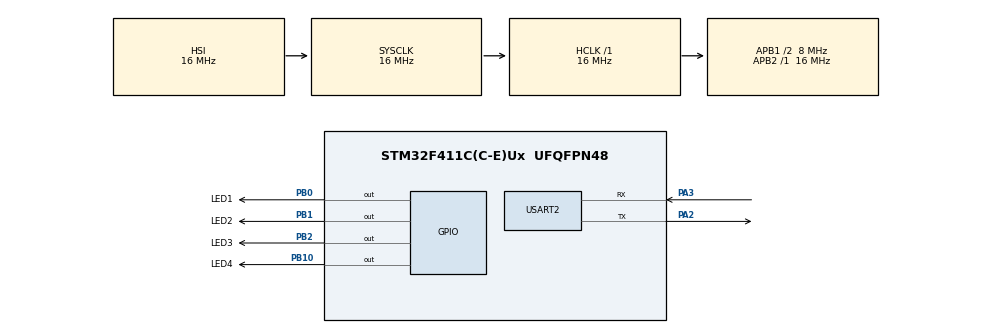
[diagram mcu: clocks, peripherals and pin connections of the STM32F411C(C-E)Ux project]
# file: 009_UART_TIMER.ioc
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Mcu.Family=STM32F4
Mcu.Name=STM32F411C(C-E)Ux
Mcu.Package=UFQFPN48
NVIC.PriorityGroup=NVIC_PRIORITYGROUP_4
NVIC.TIM2_IRQn=true\:15\:0\:false\:false\:true\:false\:true\:true
NVIC.TimeBase=TIM2_IRQn
NVIC.TimeBaseIP=TIM2
NVIC.USART2_IRQn=true\:6\:0\:true\:false\:true\:true\:true\:true
PA2.Mode=Asynchronous
PA2.Signal=USART2_TX
PA3.Mode=Asynchronous
PA3.Signal=USART2_RX
PB0.GPIO_Label=LED1
PB0.Signal=GPIO_Output
PB1.GPIO_Label=LED2
PB1.Signal=GPIO_Output
PB10.GPIO_Label=LED4
PB10.Signal=GPIO_Output
PB2.GPIO_Label=LED3
PB2.Signal=GPIO_Output
ProjectManager.HeapSize=0x200
ProjectManager.StackSize=0x400
ProjectManager.TargetToolchain=STM32CubeIDE
RCC.48MHZClocksFreq_Value=48000000
RCC.AHBFreq_Value=16000000
RCC.APB1CLKDivider=RCC_HCLK_DIV2
RCC.APB1Freq_Value=8000000
RCC.APB1TimFreq_Value=16000000
RCC.APB2Freq_Value=16000000
RCC.APB2TimFreq_Value=16000000
RCC.CortexFreq_Value=16000000
RCC.HCLKFreq_Value=16000000
RCC.HSE_VALUE=25000000
RCC.HSI_VALUE=16000000
RCC.LSE_VALUE=32768
RCC.PLLM=8
RCC.PLLN=96
RCC.SYSCLKFreq_VALUE=16000000
RCC.VCOOutputFreq_Value=192000000
RTC.HourFormat=RTC_HOURFORMAT_24
USART2.VirtualMode=VM_ASYNC
VP_RTC_VS_RTC_Activate.Mode=RTC_Enabled
VP_RTC_VS_RTC_Calendar.Mode=RTC_Calendar
VP_SYS_VS_tim2.Mode=TIM2
board=custom

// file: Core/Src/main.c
/* USER CODE BEGIN Header */
/**
 ******************************************************************************
 * @file           : main.c
 * @brief          : Main program body
 ******************************************************************************
 * @attention
 *
 * Copyright (c) 2026 STMicroelectronics.
 * All rights reserved.
 *
 * This software is licensed under terms that can be found in the LICENSE file
 * in the root directory of this software component.
 * If no LICENSE file comes with this software, it is provided AS-IS.
 *
 ******************************************************************************
 */
/* USER CODE END Header */
#include "main.h"

RTC_HandleTypeDef hrtc;

UART_HandleTypeDef huart2;

/* USER CODE BEGIN PV */
TaskHandle_t handle_menu_task, handle_led_task, handle_rtc_task,
		handle_print_task, handle_cmd_task;

QueueHandle_t q_data;	// queue data
QueueHandle_t q_print; //  queue print

TimerHandle_t handle_led_timer[4];
TimerHandle_t rtc_timer;	// for SWO printf

volatile uint8_t user_data;

state_t curr_state;
/* USER CODE END PV */

void SystemClock_Config(void);
static void MX_GPIO_Init(void);
static void MX_RTC_Init(void);
static void MX_USART2_UART_Init(void);
/* USER CODE BEGIN PFP */

void led_effect_callback(TimerHandle_t xTimer);
void rtc_report_callback(TimerHandle_t xTimer);

/* USER CODE END PFP */

int main(void) {

	/* USER CODE BEGIN 1 */
	BaseType_t status;
	/* USER CODE END 1 */

	/* MCU Configuration--------------------------------------------------------*/

	/* Reset of all peripherals, Initializes the Flash interface and the Systick. */
	HAL_Init();

	/* Configure the system clock */
	SystemClock_Config();

	/* Initialize all configured peripherals */
	MX_GPIO_Init();
	MX_RTC_Init();
	MX_USART2_UART_Init();
	/* USER CODE BEGIN 2 */

	status = xTaskCreate(menu_task, "menu_task", 200, NULL, 2,
			&handle_menu_task);
	configASSERT(status == pdPASS);

	status = xTaskCreate(led_task, "led_task", 200, NULL, 2, &handle_led_task);
	configASSERT(status == pdPASS);

	status = xTaskCreate(rtc_task, "rtc_task", 200, NULL, 2, &handle_rtc_task);
	configASSERT(status == pdPASS);

	status = xTaskCreate(print_task, "print_task", 200, NULL, 2,
			&handle_print_task);
	configASSERT(status == pdPASS);

	status = xTaskCreate(cmd_handler_task, "cmd_task", 200,
	NULL, 2, &handle_cmd_task);
	configASSERT(status == pdPASS);

	q_data = xQueueCreate(10, sizeof(char));
	configASSERT(q_data != NULL);

	q_print = xQueueCreate(10, sizeof(size_t));	// enqueue pointer to string
	configASSERT(q_print != NULL);

	for (uint8_t i = 0; i < 4; i++) {
		handle_led_timer[i] = xTimerCreate("led_timer", pdMS_TO_TICKS(500),
		pdTRUE, (void*) (i + 1), led_effect_callback);
	}

	rtc_timer = xTimerCreate("rtc_timer", pdMS_TO_TICKS(1000), pdTRUE, NULL, rtc_report_callback);

	HAL_UART_Receive_IT(&huart2, (uint8_t*) &user_data, 1);

	vTaskStartScheduler();
	/* USER CODE END 2 */

	/* Infinite loop */
	while (1) {

	}
}

void SystemClock_Config(void) {
	RCC_OscInitTypeDef RCC_OscInitStruct = { 0 };
	RCC_ClkInitTypeDef RCC_ClkInitStruct = { 0 };

	/** Configure the main internal regulator output voltage
	 */
	__HAL_RCC_PWR_CLK_ENABLE();
	__HAL_PWR_VOLTAGESCALING_CONFIG(PWR_REGULATOR_VOLTAGE_SCALE1);

	/** Initializes the RCC Oscillators according to the specified parameters
	 * in the RCC_OscInitTypeDef structure.
	 */
	RCC_OscInitStruct.OscillatorType = RCC_OSCILLATORTYPE_HSI
			| RCC_OSCILLATORTYPE_LSI;
	RCC_OscInitStruct.HSIState = RCC_HSI_ON;
	RCC_OscInitStruct.HSICalibrationValue = RCC_HSICALIBRATION_DEFAULT;
	RCC_OscInitStruct.LSIState = RCC_LSI_ON;
	RCC_OscInitStruct.PLL.PLLState = RCC_PLL_NONE;
	if (HAL_RCC_OscConfig(&RCC_OscInitStruct) != HAL_OK) {
		Error_Handler();
	}

	/** Initializes the CPU, AHB and APB buses clocks
	 */
	RCC_ClkInitStruct.ClockType = RCC_CLOCKTYPE_HCLK | RCC_CLOCKTYPE_SYSCLK
			| RCC_CLOCKTYPE_PCLK1 | RCC_CLOCKTYPE_PCLK2;
	RCC_ClkInitStruct.SYSCLKSource = RCC_SYSCLKSOURCE_HSI;
	RCC_ClkInitStruct.AHBCLKDivider = RCC_SYSCLK_DIV1;
	RCC_ClkInitStruct.APB1CLKDivider = RCC_HCLK_DIV2;
	RCC_ClkInitStruct.APB2CLKDivider = RCC_HCLK_DIV1;

	if (HAL_RCC_ClockConfig(&RCC_ClkInitStruct, FLASH_LATENCY_0) != HAL_OK) {
		Error_Handler();
	}
}

static void MX_RTC_Init(void) {

	RTC_TimeTypeDef sTime = { 0 };
	RTC_DateTypeDef sDate = { 0 };

	/** Initialize RTC Only
	 */
	hrtc.Instance = RTC;
	hrtc.Init.HourFormat = RTC_HOURFORMAT_24;
	hrtc.Init.AsynchPrediv = 127;
	hrtc.Init.SynchPrediv = 255;
	hrtc.Init.OutPut = RTC_OUTPUT_DISABLE;
	hrtc.Init.OutPutPolarity = RTC_OUTPUT_POLARITY_HIGH;
	hrtc.Init.OutPutType = RTC_OUTPUT_TYPE_OPENDRAIN;
	if (HAL_RTC_Init(&hrtc) != HAL_OK) {
		Error_Handler();
	}

	/** Initialize RTC and set the Time and Date
	 */
	sTime.Hours = 0x0;
	sTime.Minutes = 0x0;
	sTime.Seconds = 0x0;
	sTime.DayLightSaving = RTC_DAYLIGHTSAVING_NONE;
	sTime.StoreOperation = RTC_STOREOPERATION_RESET;
	if (HAL_RTC_SetTime(&hrtc, &sTime, RTC_FORMAT_BCD) != HAL_OK) {
		Error_Handler();
	}
	sDate.WeekDay = RTC_WEEKDAY_MONDAY;
	sDate.Month = RTC_MONTH_JANUARY;
	sDate.Date = 0x1;
	sDate.Year = 0x0;

	if (HAL_RTC_SetDate(&hrtc, &sDate, RTC_FORMAT_BCD) != HAL_OK) {
		Error_Handler();
	}

}

static void MX_USART2_UART_Init(void) {

	huart2.Instance = USART2;
	huart2.Init.BaudRate = 115200;
	huart2.Init.WordLength = UART_WORDLENGTH_8B;
	huart2.Init.StopBits = UART_STOPBITS_1;
	huart2.Init.Parity = UART_PARITY_NONE;
	huart2.Init.Mode = UART_MODE_TX_RX;
	huart2.Init.HwFlowCtl = UART_HWCONTROL_NONE;
	huart2.Init.OverSampling = UART_OVERSAMPLING_16;
	if (HAL_UART_Init(&huart2) != HAL_OK) {
		Error_Handler();
	}

}

static void MX_GPIO_Init(void) {
	GPIO_InitTypeDef GPIO_InitStruct = { 0 };

	/* GPIO Ports Clock Enable */
	__HAL_RCC_GPIOA_CLK_ENABLE();
	__HAL_RCC_GPIOB_CLK_ENABLE();

	/*Configure GPIO pin Output Level */
	HAL_GPIO_WritePin(GPIOB, LED1_Pin | LED2_Pin | LED3_Pin | LED4_Pin,
			GPIO_PIN_RESET);

	/*Configure GPIO pins : LED1_Pin LED2_Pin LED3_Pin LED4_Pin */
	GPIO_InitStruct.Pin = LED1_Pin | LED2_Pin | LED3_Pin | LED4_Pin;
	GPIO_InitStruct.Mode = GPIO_MODE_OUTPUT_PP;
	GPIO_InitStruct.Pull = GPIO_NOPULL;
	GPIO_InitStruct.Speed = GPIO_SPEED_FREQ_LOW;
	HAL_GPIO_Init(GPIOB, &GPIO_InitStruct);

}

/* USER CODE BEGIN 4 */

void HAL_UART_RxCpltCallback(UART_HandleTypeDef *huart) {
//	BaseType_t pxHigherPriorityTaskWoken = pdFALSE;

	if (xQueueIsQueueFullFromISR(q_data) == pdFALSE) {

		xQueueSendToBackFromISR(q_data, (uint8_t* )&user_data, NULL);

	} else {
		// queue is full and  user enter '\n' (that mean user stop entering the data)
		// replace the last data byte by '\n'
		if (user_data == '\n') {
			uint8_t dummy;
			// Remove head and take '\n' to tail
			xQueueReceiveFromISR(q_data, &dummy, NULL);
			xQueueSendToBackFromISR(q_data, (uint8_t* )&user_data, NULL);
		}
	}

// send notification to command handling if user_data = '\n'
	if (user_data == '\n') {

		xTaskNotifyFromISR(handle_cmd_task, 0, eNoAction, NULL);

	}

// re-arm to receive next byte
	HAL_UART_Receive_IT(&huart2, (uint8_t*) &user_data, 1);
}

void led_effect_callback(TimerHandle_t xTimer) {
	uint32_t id = (uint32_t) pvTimerGetTimerID(xTimer);

	switch (id) {
	case 1:
		led_effect1();
		break;
	case 2:
		led_effect2();
		break;
	case 3:
		led_effect3();
		break;
	case 4:
		led_effect4();
		break;
	}
}

void rtc_report_callback(TimerHandle_t xTimer) {
	show_time_date_itm();
}

/* USER CODE END 4 */

void HAL_TIM_PeriodElapsedCallback(TIM_HandleTypeDef *htim) {
	if (htim->Instance == TIM2) {
		HAL_IncTick();
	}
}

void Error_Handler(void) {
	__disable_irq();
	while (1) {
	}
}
